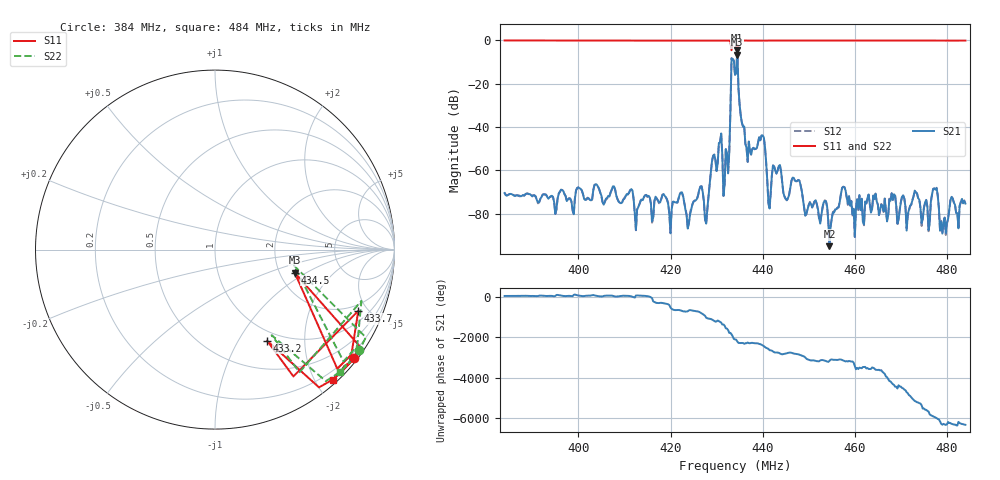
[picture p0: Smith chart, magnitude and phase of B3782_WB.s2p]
! Matrix data file written by TouchstoneData, EPCOS AG
! FILENAME: "newformat_B3782_WB.s2p"
! COMMENT: "INPUT PIN2; OUTPUT PIN5; POTREX1 91PS;PORTEX"
! INFO: nport=2, nfreq=401
! DATE: "Wed Sep 19 15:44:16 2012"
! USER: "Wilfried Schott"
! port | pin | signal
!  1  |  2  |  IN
!  2  |  5  |  OUT
# MHZ S MA R 50
! freq  magS11 angS11  magS21 angS21  magS12 angS12  magS22 angS22
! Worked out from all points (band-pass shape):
!   401 points, 384 MHz to 484 MHz, reference 50 ohm
!   highest |S21| = -4.69 dB at 434.5 MHz (marker M1); lowest = -95.0 dB at 454.5 MHz (marker M2)
!   |S21| within 3 dB of the highest: 434.3991 MHz to 434.5132 MHz (114.1 kHz wide, 0.0263 % of centre)
!   lowest |S11| = -6.7 dB at 434.5 MHz (marker M3), VSWR 2.72, Z = 121 - j39.6 ohm
!   |S11| at or under -10 dB: nowhere
!   |S22| runs from -7.0 to -0.2 dB; largest |S21 - S12| = 0.0012
!   S11 on the Smith chart (normalised r, x): 384 MHz: 0.08, -2.91; 433.2 MHz: 0.87, -1.33; 433.7 MHz: 1.57, -4.35; 434.5 MHz: 2.42, -0.79; 484 MHz: 0.07, -2.25
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383.97  0.983 -38.0  0.0002989 55.1  0.0003052 56.3  0.9803 -34.9
400.72  0.9818 -39.8  0.000345 53.3  0.000344 53.4  0.9795 -36.7
417.47  0.9808 -41.7  0.0001831 61.7  0.0001738 59.3  0.9789 -38.5
427.72  0.9797 -43.4  5.899e-05 54.8  6.05e-05 60.0  0.9775 -40.2
430.72  0.977 -44.6  0.004399 -152.1  0.004396 -152.0  0.9748 -41.4
431.97  0.976 -46.1  0.00308 -113.0  0.003076 -112.8  0.9737 -42.8
433.22  0.5842 -60.2  0.3813 -51.9  0.3809 -51.8  0.5719 -56.5
433.72  0.8681 -23.1  0.3372 77.4  0.3366 77.6  0.8646 -19.3
433.97  0.959 -37.6  0.1575 53.9  0.1572 54.0  0.957 -34.2
434.47  0.4625 -16.2  0.5828 -51.6  0.5818 -51.6  0.4486 -11.3
436.22  0.9787 -41.1  0.004055 -135.9  0.004049 -135.8  0.9766 -37.7
439.97  0.9708 -42.5  0.006386 118.1  0.006369 118.3  0.9689 -39.2
441.47  0.9789 -42.8  0.0001315 -122.9  0.0001272 -124.7  0.9765 -39.4
443.47  0.9774 -43.2  0.001259 106.7  0.001257 106.9  0.9752 -39.9
444.97  0.9787 -43.5  0.0002206 71.7  0.0002182 72.5  0.9764 -40.1
446.97  0.9776 -43.8  0.0005798 60.9  0.0005822 61.1  0.975 -40.4
450.72  0.9785 -44.3  0.0001388 93.2  0.0001399 93.4  0.9762 -40.8
454.47  0.9786 -44.8  1.784e-05 66.6  2.057e-05 81.3  0.976 -41.3
457.47  0.9778 -45.1  0.0004159 86.2  0.0004195 85.7  0.9751 -41.7
459.47  0.9776 -45.3  9.508e-05 38.3  8.64e-05 38.7  0.9752 -41.9
467.47  0.977 -46.2  0.0002155 144.8  0.0002219 145.3  0.9744 -42.7
483.97  0.9767 -47.9  0.0001712 127.8  0.0001728 126.4  0.9734 -44.3
